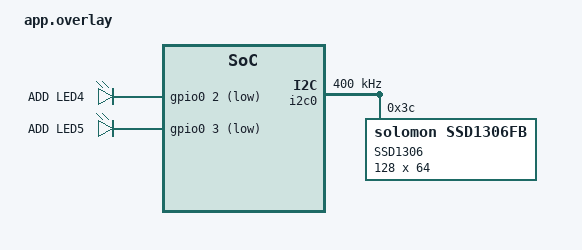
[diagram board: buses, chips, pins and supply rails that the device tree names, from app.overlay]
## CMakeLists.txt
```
#
# Copyright (c) 2018 Nordic Semiconductor
#
# SPDX-License-Identifier: LicenseRef-Nordic-5-Clause
#
cmake_minimum_required(VERSION 3.20.0)

find_package(Zephyr REQUIRED HINTS $ENV{ZEPHYR_BASE})
project(NONE)

# NORDIC SDK APP START
target_sources(app PRIVATE src/main.c)
target_sources(app PRIVATE display.c)
target_sources(app PRIVATE mainthread.c)
target_sources(app PRIVATE fonts/font5x7.c)
target_sources(app PRIVATE fonts/font8x8.c)
target_sources(app PRIVATE fonts/font10x16.c)
target_sources(app PRIVATE fonts/font15x24.c)
target_sources(app PRIVATE fonts/font20x32.c)

target_include_directories(app PRIVATE ./)

# Include UART ASYNC API adapter
target_sources_ifdef(CONFIG_BT_NUS_UART_ASYNC_ADAPTER app PRIVATE
  src/uart_async_adapter.c
)

# NORDIC SDK APP END

zephyr_library_include_directories(.)
```

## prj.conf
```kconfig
#
# Copyright (c) 2018 Nordic Semiconductor
#
# SPDX-License-Identifier: LicenseRef-Nordic-5-Clause
#

# Enable the UART driver
CONFIG_UART_ASYNC_API=y
CONFIG_NRFX_UARTE0=y
CONFIG_SERIAL=y

CONFIG_GPIO=y

# Make sure printk is printing to the UART console
CONFIG_CONSOLE=y
CONFIG_UART_CONSOLE=y


CONFIG_BT=y
CONFIG_BT_PERIPHERAL=y
CONFIG_BT_DEVICE_NAME="Nordic_UART_Service"
CONFIG_BT_DEVICE_APPEARANCE=833
CONFIG_BT_MAX_CONN=1
CONFIG_BT_MAX_PAIRED=1

# Enable the NUS service
CONFIG_BT_NUS=y

# Enable bonding
CONFIG_BT_SETTINGS=y
CONFIG_FLASH=y
CONFIG_FLASH_PAGE_LAYOUT=y
CONFIG_FLASH_MAP=y
CONFIG_NVS=y
CONFIG_SETTINGS=y

# Enable DK LED and Buttons library
CONFIG_DK_LIBRARY=y

# This example requires more stack
CONFIG_MAIN_STACK_SIZE=1152
CONFIG_SYSTEM_WORKQUEUE_STACK_SIZE=2048

# Config logger
CONFIG_LOG=y
CONFIG_USE_SEGGER_RTT=y
CONFIG_LOG_BACKEND_RTT=y
CONFIG_LOG_BACKEND_UART=n
CONFIG_LOG_PRINTK=n

CONFIG_ASSERT=y




# display

CONFIG_DEBUG=y

CONFIG_HEAP_MEM_POOL_SIZE=4096

CONFIG_BUILD_OUTPUT_HEX=y

CONFIG_I2C=y
CONFIG_I2C_NRFX=y

CONFIG_DISPLAY=y

CONFIG_SSD1306=y
CONFIG_SSD1306_DEFAULT_CONTRAST=128
CONFIG_SSD1306_DEFAULT=y

CONFIG_CHARACTER_FRAMEBUFFER=y
CONFIG_CHARACTER_FRAMEBUFFER_USE_DEFAULT_FONTS=n
```

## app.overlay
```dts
/*
 * Copyright (c) 2022 Nordic Semiconductor ASA
 *
 * SPDX-License-Identifier: LicenseRef-Nordic-5-Clause
 */

/ {
	chosen {
		nordic,nus-uart = &uart0;
	};
};
/ {
    leds {
        compatible = "gpio-leds";//组件名 可以去sdk下面找到gpio_leds.c的驱动文件：C:\ncs\sdk\zephyr\drivers\led\gpio_leds.c和C:\ncs\sdk\zephyr\dts\bindings\led\gpio-leds.yaml
        led4: led_4 {
            gpios = <&gpio0 2 GPIO_ACTIVE_LOW>;
            label = "ADD LED4";
        };
        led5: led_5 {
            gpios = <&gpio0 3 GPIO_ACTIVE_LOW>;
            label = "ADD LED5";
        };

    };
    aliases {
        led4=&led4;//因为是以别名调用这个驱动的所以添加这个别名
        led5=&led5;
    };
};
&i2c0 {
    compatible = "nordic,nrf-twi";
    status = "okay";
    clock-frequency = <I2C_BITRATE_FAST>;

    ssd1306@3c {
        compatible = "solomon,ssd1306fb";
        reg = <0x3c>;
        label = "SSD1306";//获取设备时用这个device_get_binding("SSD1306")
        height = <64>;
        width = <128>;
        segment-offset = <0>;
        page-offset = <0>;
        display-offset = <0>;
        multiplex-ratio = <63>;
        prechargep = <0xFF>;
    };
};
```

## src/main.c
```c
/*
 * Copyright (c) 2018 Nordic Semiconductor ASA
 *
 * SPDX-License-Identifier: LicenseRef-Nordic-5-Clause
 */
// 这里有两个任务，一个是main任务另外一个是ble_write_thread任务
// main任务控制状态灯，
// ble_write_thread任务串口接收数据后转发ble的任务
/** @file
 *  @brief Nordic UART Bridge Service (NUS) sample
 */
#include "uart_async_adapter.h"

#include <zephyr/types.h>
#include <zephyr/kernel.h>
#include <zephyr/drivers/uart.h>
#include <zephyr/usb/usb_device.h>

#include <zephyr/device.h>
#include <zephyr/devicetree.h>
#include <soc.h>

#include <zephyr/bluetooth/bluetooth.h>
#include <zephyr/bluetooth/uuid.h>
#include <zephyr/bluetooth/gatt.h>
#include <zephyr/bluetooth/hci.h>

#include <bluetooth/services/nus.h>

#include <dk_buttons_and_leds.h>

#include <zephyr/settings/settings.h>

#include <stdio.h>

#include <zephyr/logging/log.h>
#include "display.h"
#define LOG_MODULE_NAME peripheral_uart
LOG_MODULE_REGISTER(LOG_MODULE_NAME);

#define STACKSIZE CONFIG_BT_NUS_THREAD_STACK_SIZE
#define PRIORITY 7

#define DEVICE_NAME CONFIG_BT_DEVICE_NAME
#define DEVICE_NAME_LEN (sizeof(DEVICE_NAME) - 1)

#define RUN_STATUS_LED DK_LED1
#define RUN_LED_BLINK_INTERVAL 1000

#define CON_STATUS_LED DK_LED2

#define KEY_PASSKEY_ACCEPT DK_BTN1_MSK
#define KEY_PASSKEY_REJECT DK_BTN2_MSK

#define UART_BUF_SIZE CONFIG_BT_NUS_UART_BUFFER_SIZE
#define UART_WAIT_FOR_BUF_DELAY K_MSEC(50)
#define UART_WAIT_FOR_RX CONFIG_BT_NUS_UART_RX_WAIT_TIME

static K_SEM_DEFINE(ble_init_ok, 0, 1);

static struct bt_conn *current_conn;
static struct bt_conn *auth_conn;

static const struct device *uart = DEVICE_DT_GET(DT_CHOSEN(nordic_nus_uart));
static struct k_work_delayable uart_work;

struct uart_data_t
{
	void *fifo_reserved;
	uint8_t data[UART_BUF_SIZE];
	uint16_t len;
};

static K_FIFO_DEFINE(fifo_uart_tx_data);
static K_FIFO_DEFINE(fifo_uart_rx_data);

static const struct bt_data ad[] = {
	BT_DATA_BYTES(BT_DATA_FLAGS, (BT_LE_AD_GENERAL | BT_LE_AD_NO_BREDR)),
	BT_DATA(BT_DATA_NAME_COMPLETE, DEVICE_NAME, DEVICE_NAME_LEN),
};

static const struct bt_data sd[] = {
	BT_DATA_BYTES(BT_DATA_UUID128_ALL, BT_UUID_NUS_VAL),
};

#if CONFIG_BT_NUS_UART_ASYNC_ADAPTER
UART_ASYNC_ADAPTER_INST_DEFINE(async_adapter);
#else
static const struct device *const async_adapter;
#endif

static void uart_cb(const struct device *dev, struct uart_event *evt, void *user_data)
{
	ARG_UNUSED(dev);

	static size_t aborted_len;
	struct uart_data_t *buf;
	static uint8_t *aborted_buf;
	static bool disable_req;

	switch (evt->type)
	{
	case UART_TX_DONE:
		LOG_DBG("UART_TX_DONE");
		if ((evt->data.tx.len == 0) ||
			(!evt->data.tx.buf))
		{
			return;
		}

		if (aborted_buf)
		{
			buf = CONTAINER_OF(aborted_buf, struct uart_data_t,
							   data);
			aborted_buf = NULL;
			aborted_len = 0;
		}
		else
		{
			buf = CONTAINER_OF(evt->data.tx.buf, struct uart_data_t,
							   data);
		}

		k_free(buf);

		buf = k_fifo_get(&fifo_uart_tx_data, K_NO_WAIT);
		if (!buf)
		{
			return;
		}

		if (uart_tx(uart, buf->data, buf->len, SYS_FOREVER_MS))
		{
			LOG_WRN("Failed to send data over UART");
		}

		break;

	case UART_RX_RDY:
		LOG_DBG("UART_RX_RDY");
		buf = CONTAINER_OF(evt->data.rx.buf, struct uart_data_t, data);
		buf->len += evt->data.rx.len;

		if (disable_req)
		{
			return;
		}

		if ((evt->data.rx.buf[buf->len - 1] == '\n') ||
			(evt->data.rx.buf[buf->len - 1] == '\r'))
		{
			disable_req = true;
			uart_rx_disable(uart);
		}

		break;

	case UART_RX_DISABLED:
		LOG_DBG("UART_RX_DISABLED");
		disable_req = false;

		buf = k_malloc(sizeof(*buf));
		if (buf)
		{
			buf->len = 0;
		}
		else
		{
			LOG_WRN("Not able to allocate UART receive buffer");
			k_work_reschedule(&uart_work, UART_WAIT_FOR_BUF_DELAY);
			return;
		}

		uart_rx_enable(uart, buf->data, sizeof(buf->data),
					   UART_WAIT_FOR_RX);

		break;

	case UART_RX_BUF_REQUEST:
		LOG_DBG("UART_RX_BUF_REQUEST");
		buf = k_malloc(sizeof(*buf));
		if (buf)
		{
			buf->len = 0;
			uart_rx_buf_rsp(uart, buf->data, sizeof(buf->data));
		}
		else
		{
			LOG_WRN("Not able to allocate UART receive buffer");
		}

		break;

	case UART_RX_BUF_RELEASED:
		LOG_DBG("UART_RX_BUF_RELEASED");
		buf = CONTAINER_OF(evt->data.rx_buf.buf, struct uart_data_t,
						   data);

		if (buf->len > 0)
		{
			k_fifo_put(&fifo_uart_rx_data, buf);
		}
		else
		{
			k_free(buf);
		}

		break;

	case UART_TX_ABORTED:
		LOG_DBG("UART_TX_ABORTED");
		if (!aborted_buf)
		{
			aborted_buf = (uint8_t *)evt->data.tx.buf;
		}

		aborted_len += evt->data.tx.len;
		buf = CONTAINER_OF(aborted_buf, struct uart_data_t,
						   data);

		uart_tx(uart, &buf->data[aborted_len],
				buf->len - aborted_len, SYS_FOREVER_MS);

		break;

	default:
		break;
	}
}

static void uart_work_handler(struct k_work *item)
{
	struct uart_data_t *buf;

	buf = k_malloc(sizeof(*buf));
	if (buf)
	{
		buf->len = 0;
	}
	else
	{
		LOG_WRN("Not able to allocate UART receive buffer");
		k_work_reschedule(&uart_work, UART_WAIT_FOR_BUF_DELAY);
		return;
	}

	uart_rx_enable(uart, buf->data, sizeof(buf->data), UART_WAIT_FOR_RX);
}

static bool uart_test_async_api(const struct device *dev)
{
	const struct uart_driver_api *api =
		(const struct uart_driver_api *)dev->api;

	return (api->callback_set != NULL);
}

static int uart_init(void)
{
	int err;
	int pos;
	struct uart_data_t *rx;
	struct uart_data_t *tx;

	if (!device_is_ready(uart))
	{
		return -ENODEV;
	}

	if (IS_ENABLED(CONFIG_USB_DEVICE_STACK))
	{
		err = usb_enable(NULL);
		if (err && (err != -EALREADY))
		{
			LOG_ERR("Failed to enable USB");
			return err;
		}
	}

	rx = k_malloc(sizeof(*rx));
	if (rx)
	{
		rx->len = 0;
	}
	else
	{
		return -ENOMEM;
	}

	k_work_init_delayable(&uart_work, uart_work_handler);

	if (IS_ENABLED(CONFIG_BT_NUS_UART_ASYNC_ADAPTER) && !uart_test_async_api(uart))
	{
		/* Implement API adapter */
		uart_async_adapter_init(async_adapter, uart);
		uart = async_adapter;
	}

	err = uart_callback_set(uart, uart_cb, NULL);
	if (err)
	{
		k_free(rx);
		LOG_ERR("Cannot initialize UART callback");
		return err;
	}

	if (IS_ENABLED(CONFIG_UART_LINE_CTRL))
	{
		LOG_INF("Wait for DTR");
		while (true)
		{
			uint32_t dtr = 0;

			uart_line_ctrl_get(uart, UART_LINE_CTRL_DTR, &dtr);
			if (dtr)
			{
				break;
			}
			/* Give CPU resources to low priority threads. */
			k_sleep(K_MSEC(100));
		}
		LOG_INF("DTR set");
		err = uart_line_ctrl_set(uart, UART_LINE_CTRL_DCD, 1);
		if (err)
		{
			LOG_WRN("Failed to set DCD, ret code %d", err);
		}
		err = uart_line_ctrl_set(uart, UART_LINE_CTRL_DSR, 1);
		if (err)
		{
			LOG_WRN("Failed to set DSR, ret code %d", err);
		}
	}

	tx = k_malloc(sizeof(*tx));

	if (tx)
	{
		pos = snprintf(tx->data, sizeof(tx->data),
					   "Starting Nordic UART service example\r\n");

		if ((pos < 0) || (pos >= sizeof(tx->data)))
		{
			k_free(rx);
			k_free(tx);
			LOG_ERR("snprintf returned %d", pos);
			return -ENOMEM;
		}

		tx->len = pos;
	}
	else
	{
		k_free(rx);
		return -ENOMEM;
	}

	err = uart_tx(uart, tx->data, tx->len, SYS_FOREVER_MS);
	if (err)
	{
		k_free(rx);
		k_free(tx);
		LOG_ERR("Cannot display welcome message (err: %d)", err);
		return err;
	}

	err = uart_rx_enable(uart, rx->data, sizeof(rx->data), 50);
	if (err)
	{
		LOG_ERR("Cannot enable uart reception (err: %d)", err);
		/* Free the rx buffer only because the tx buffer will be handled in the callback */
		k_free(rx);
	}

	return err;
}

static void connected(struct bt_conn *conn, uint8_t err)
{
	char addr[BT_ADDR_LE_STR_LEN];

	if (err)
	{
		LOG_ERR("Connection failed (err %u)", err);
		return;
	}

	bt_addr_le_to_str(bt_conn_get_dst(conn), addr, sizeof(addr));
	LOG_INF("Connected %s", addr);

	current_conn = bt_conn_ref(conn);

	dk_set_led_on(CON_STATUS_LED);
}

static void disconnected(struct bt_conn *conn, uint8_t reason)
{
	char addr[BT_ADDR_LE_STR_LEN];

	bt_addr_le_to_str(bt_conn_get_dst(conn), addr, sizeof(addr));

	LOG_INF("Disconnected: %s (reason %u)", addr, reason);

	if (auth_conn)
	{
		bt_conn_unref(auth_conn);
		auth_conn = NULL;
	}

	if (current_conn)
	{
		bt_conn_unref(current_conn);
		current_conn = NULL;
		dk_set_led_off(CON_STATUS_LED);
	}
}

#ifdef CONFIG_BT_NUS_SECURITY_ENABLED
static void security_changed(struct bt_conn *conn, bt_security_t level,
							 enum bt_security_err err)
{
	char addr[BT_ADDR_LE_STR_LEN];

	bt_addr_le_to_str(bt_conn_get_dst(conn), addr, sizeof(addr));

	if (!err)
	{
		LOG_INF("Security changed: %s level %u", addr, level);
	}
	else
	{
		LOG_WRN("Security failed: %s level %u err %d", addr,
				level, err);
	}
}
#endif

BT_CONN_CB_DEFINE(conn_callbacks) = {
	.connected = connected,
	.disconnected = disconnected,
#ifdef CONFIG_BT_NUS_SECURITY_ENABLED
	.security_changed = security_changed,
#endif
};

#if defined(CONFIG_BT_NUS_SECURITY_ENABLED)
static void auth_passkey_display(struct bt_conn *conn, unsigned int passkey)
{
	char addr[BT_ADDR_LE_STR_LEN];

	bt_addr_le_to_str(bt_conn_get_dst(conn), addr, sizeof(addr));

	LOG_INF("Passkey for %s: %06u", addr, passkey);
}

static void auth_passkey_confirm(struct bt_conn *conn, unsigned int passkey)
{
	char addr[BT_ADDR_LE_STR_LEN];

	auth_conn = bt_conn_ref(conn);

	bt_addr_le_to_str(bt_conn_get_dst(conn), addr, sizeof(addr));

	LOG_INF("Passkey for %s: %06u", addr, passkey);
	LOG_INF("Press Button 1 to confirm, Button 2 to reject.");
}

static void auth_cancel(struct bt_conn *conn)
{
	char addr[BT_ADDR_LE_STR_LEN];

	bt_addr_le_to_str(bt_conn_get_dst(conn), addr, sizeof(addr));

	LOG_INF("Pairing cancelled: %s", addr);
}

static void pairing_complete(struct bt_conn *conn, bool bonded)
{
	char addr[BT_ADDR_LE_STR_LEN];

	bt_addr_le_to_str(bt_conn_get_dst(conn), addr, sizeof(addr));

	LOG_INF("Pairing completed: %s, bonded: %d", addr, bonded);
}

static void pairing_failed(struct bt_conn *conn, enum bt_security_err reason)
{
	char addr[BT_ADDR_LE_STR_LEN];

	bt_addr_le_to_str(bt_conn_get_dst(conn), addr, sizeof(addr));

	LOG_INF("Pairing failed conn: %s, reason %d", addr, reason);
}

static struct bt_conn_auth_cb conn_auth_callbacks = {
	.passkey_display = auth_passkey_display,
	.passkey_confirm = auth_passkey_confirm,
	.cancel = auth_cancel,
};

static struct bt_conn_auth_info_cb conn_auth_info_callbacks = {
	.pairing_complete = pairing_complete,
	.pairing_failed = pairing_failed};
#else
static struct bt_conn_auth_cb conn_auth_callbacks;
static struct bt_conn_auth_info_cb conn_auth_info_callbacks;
#endif

static void bt_receive_cb(struct bt_conn *conn, const uint8_t *const data,
						  uint16_t len)
{
	int err;
	char addr[BT_ADDR_LE_STR_LEN] = {0};

	bt_addr_le_to_str(bt_conn_get_dst(conn), addr, ARRAY_SIZE(addr));

	LOG_INF("Received data from: %s", addr);

	for (uint16_t pos = 0; pos != len;)
	{
		struct uart_data_t *tx = k_malloc(sizeof(*tx));

		if (!tx)
		{
			LOG_WRN("Not able to allocate UART send data buffer");
			return;
		}

		/* Keep the last byte of TX buffer for potential LF char. */
		size_t tx_data_size = sizeof(tx->data) - 1;

		if ((len - pos) > tx_data_size)
		{
			tx->len = tx_data_size;
		}
		else
		{
			tx->len = (len - pos);
		}

		memcpy(tx->data, &data[pos], tx->len);

		pos += tx->len;

		/* Append the LF character when the CR character triggered
		 * transmission from the peer.
		 */
		if ((pos == len) && (data[len - 1] == '\r'))
		{
			tx->data[tx->len] = '\n';
			tx->len++;
		}

		err = uart_tx(uart, tx->data, tx->len, SYS_FOREVER_MS);
		if (err)
		{
			k_fifo_put(&fifo_uart_tx_data, tx);
		}
	}
}

static struct bt_nus_cb nus_cb = {
	.received = bt_receive_cb,
};

void error(void)
{
	dk_set_leds_state(DK_ALL_LEDS_MSK, DK_NO_LEDS_MSK);

	while (true)
	{
		/* Spin for ever */
		k_sleep(K_MSEC(1000));
	}
}

#ifdef CONFIG_BT_NUS_SECURITY_ENABLED
static void num_comp_reply(bool accept)
{
	if (accept)
	{
		bt_conn_auth_passkey_confirm(auth_conn);
		LOG_INF("Numeric Match, conn %p", (void *)auth_conn);
	}
	else
	{
		bt_conn_auth_cancel(auth_conn);
		LOG_INF("Numeric Reject, conn %p", (void *)auth_conn);
	}

	bt_conn_unref(auth_conn);
	auth_conn = NULL;
}

void button_changed(uint32_t button_state, uint32_t has_changed)
{
	uint32_t buttons = button_state & has_changed;

	if (auth_conn)
	{
		if (buttons & KEY_PASSKEY_ACCEPT)
		{
			num_comp_reply(true);
		}

		if (buttons & KEY_PASSKEY_REJECT)
		{
			num_comp_reply(false);
		}
	}
}
#endif /* CONFIG_BT_NUS_SECURITY_ENABLED */

static void configure_gpio(void)
{
	int err;

#ifdef CONFIG_BT_NUS_SECURITY_ENABLED
	err = dk_buttons_init(button_changed);
	if (err)
	{
		LOG_ERR("Cannot init buttons (err: %d)", err);
	}
#endif /* CONFIG_BT_NUS_SECURITY_ENABLED */

	err = dk_leds_init();
	if (err)
	{
		LOG_ERR("Cannot init LEDs (err: %d)", err);
	}
}

int main(void)
{
	int blink_status = 0;
	int err = 0;
	display_init();

	configure_gpio();

	err = uart_init();
	if (err)
	{
		error();
	}

	if (IS_ENABLED(CONFIG_BT_NUS_SECURITY_ENABLED))
	{
		err = bt_conn_auth_cb_register(&conn_auth_callbacks);
		if (err)
		{
			printk("Failed to register authorization callbacks.\n");
			return 0;
		}

		err = bt_conn_auth_info_cb_register(&conn_auth_info_callbacks);
		if (err)
		{
			printk("Failed to register authorization info callbacks.\n");
			return 0;
		}
	}

	err = bt_enable(NULL);
	if (err)
	{
		error();
	}

	LOG_INF("Bluetooth initialized");

	k_sem_give(&ble_init_ok);

	if (IS_ENABLED(CONFIG_SETTINGS))
	{
		settings_load();
	}

	err = bt_nus_init(&nus_cb);
	if (err)
	{
		LOG_ERR("Failed to initialize UART service (err: %d)", err);
		return 0;
	}

	err = bt_le_adv_start(BT_LE_ADV_CONN, ad, ARRAY_SIZE(ad), sd,
						  ARRAY_SIZE(sd));
	if (err)
	{
		LOG_ERR("Advertising failed to start (err %d)", err);
		return 0;
	}

	for (;;)
	{
		dk_set_led(RUN_STATUS_LED, (++blink_status) % 2);
		k_sleep(K_MSEC(RUN_LED_BLINK_INTERVAL));
	}
}
// 串口接收后转发蓝牙发送
void ble_write_thread(void)
{
	/* Don't go any further until BLE is initialized */
	k_sem_take(&ble_init_ok, K_FOREVER);

	for (;;)
	{
		/* Wait indefinitely for data to be sent over bluetooth */
		// 这个任务 无期限等待直到串口接收到数据 无数据的话一直阻塞让出CPU
		// 一句话理解RTOS，[阻塞，让出CPU，等信号到来就绪执行]
		struct uart_data_t *buf = k_fifo_get(&fifo_uart_rx_data, K_FOREVER);

		if (bt_nus_send(NULL, buf->data, buf->len))
		{
			LOG_WRN("Failed to send data over BLE connection");
		}

		k_free(buf);
	}
}

K_THREAD_DEFINE(ble_write_thread_id, STACKSIZE, ble_write_thread, NULL, NULL,
				NULL, PRIORITY, 0, 0);
```

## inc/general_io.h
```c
#ifndef __GENERAL_IO_H
#define __GENERAL_IO_H
#include <stddef.h>
#include <string.h>
#include <errno.h>
#include <soc.h>
#include <zephyr/drivers/gpio.h>
#include <zephyr/types.h>
#include <zephyr/sys/printk.h>
#include <zephyr/sys/byteorder.h>
#include <zephyr/sys/__assert.h>
#include <zephyr/kernel.h>
#include <zephyr/logging/log.h>
#include <zephyr/device.h>
struct led
{
    struct gpio_dt_spec spec; // gpio设备的专有
    uint8_t num;
};

struct printk_data_t
{
    void *fifo_reserved; /* 1st word reserved for use by fifo */
    uint32_t led;
    uint32_t cnt;
};
// #define LED0_NODE DT_ALIAS(led0)
// #define LED1_NODE DT_ALIAS(led1)
#define LED2_NODE DT_ALIAS(led2)
// #define LED3_NODE DT_ALIAS(led3)
#define LED4_NODE DT_ALIAS(led4)
#define LED5_NODE DT_ALIAS(led5)
#define KEY0_NODE DT_ALIAS(sw0) // 别名

extern struct k_fifo printk_fifo;

#endif
```

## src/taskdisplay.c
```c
/*
 * Copyright (c) 2018 PHYTEC Messtechnik GmbH
 *
 * SPDX-License-Identifier: Apache-2.0
 */
#include <zephyr/types.h>
#include <stddef.h>
#include <string.h>
#include <errno.h>
#include <zephyr/sys/printk.h>
#include <zephyr/sys/byteorder.h>
#include <zephyr/kernel.h>
#include <zephyr/drivers/gpio.h>
#include <soc.h>

#include <zephyr/device.h>
#include <zephyr/display/cfb.h>
#include <stdio.h>

#include <zephyr/logging/log.h>
LOG_MODULE_REGISTER(display, 3);

#define DISPLAY_DRIVER "SSD1306"

static struct device *dev;
static uint16_t rows;
static uint8_t ppt;
static uint8_t font_width;
static uint8_t font_height;
// 0：font10x16 zephyr-copy
// 1：font15x24 zephyr-copy
// 2：font20x32 zephyr-copy
// 3：font5x7 custom
// 4：font8x8 custom
#define SELECTED_FONT_INDEX 0 // perhaps make this a config parameter

/*---------------------------------------------------------------------------*/
/*                                                                           */
/*---------------------------------------------------------------------------*/
void display_play(void)
{
    uint8_t x_offset = 0;
    uint8_t y_offset;

    while (1)
    {

        for (int i = 0; i < rows; i++)
        {

            y_offset = i * 16; // ppt;

            switch (i)
            {
            case 0:
                cfb_print(dev, " fuck", x_offset, y_offset);
                break;
            case 1:
                cfb_print(dev, " good", x_offset, y_offset);
                break;
            case 2:
                cfb_print(dev, " better", x_offset, y_offset);
                break;
            case 3:
                cfb_print(dev, " best", x_offset, y_offset);
                break;
            default:
                break;
            }

            cfb_framebuffer_finalize(dev);

            k_sleep(K_MSEC(300));
        }

        cfb_framebuffer_clear(dev, false);

        if (x_offset > 50)
            x_offset = 0;
        else
            x_offset += 5;
    }
}

/*---------------------------------------------------------------------------*/
/*          20240130                                                         */
/*---------------------------------------------------------------------------*/
void display_init(void)
{
    dev = (struct device *)device_get_binding(DISPLAY_DRIVER);

    if (dev == NULL)
    {
        LOG_ERR("Device not found");
        return;
    }

    if (display_set_pixel_format(dev, PIXEL_FORMAT_MONO10) != 0) // 显示像素关联DISPLAY_DRIVER
    {
        LOG_ERR("Failed to set required pixel format");
        return;
    }

    LOG_INF("Binding to %s", DISPLAY_DRIVER);

    if (cfb_framebuffer_init(dev)) // 初始化Framebuffer
    {
        LOG_ERR("Framebuffer initialization failed!");
        return;
    }

    cfb_framebuffer_clear(dev, true); // 清屏

    display_blanking_off(dev);

    rows = cfb_get_display_parameter(dev, CFB_DISPLAY_ROWS);
    ppt = cfb_get_display_parameter(dev, CFB_DISPLAY_PPT);

    int num_fonts = cfb_get_numof_fonts(dev);

    for (int idx = 0; idx < num_fonts; idx++)
    {

        cfb_get_font_size(dev, idx, &font_width, &font_height); // 取得字体的宽度和高度

        LOG_INF("Index[%d] font dimensions %2dx%d",
                idx, font_width, font_height);
    }

    cfb_framebuffer_set_font(dev, SELECTED_FONT_INDEX);

    LOG_INF("Selected font: index[%d]", SELECTED_FONT_INDEX);

    cfb_framebuffer_invert(dev); // white on black

    LOG_INF("x_res %d, y_res %d, ppt %d, rows %d, cols %d",
            cfb_get_display_parameter(dev, CFB_DISPLAY_WIDTH),
            cfb_get_display_parameter(dev, CFB_DISPLAY_HEIGH),
            ppt,
            rows,
            cfb_get_display_parameter(dev, CFB_DISPLAY_COLS));
}

K_THREAD_DEFINE(display_play_id, 1024, display_play, NULL, NULL, NULL, 7, 0, 0);
```

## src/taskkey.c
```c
#include "general_io.h"
#include "display.h"
K_FIFO_DEFINE(printk_fifo);
static struct gpio_dt_spec keyled = GPIO_DT_SPEC_GET_OR(LED2_NODE, gpios, {0});
static struct gpio_dt_spec button = GPIO_DT_SPEC_GET_OR(KEY0_NODE, gpios, {0});
static struct gpio_callback button_cb_data;
void button_pressed(const struct device *dev, struct gpio_callback *cb, uint32_t pins)
{
    printk("Button pressed at %" PRIu32 "\n", k_cycle_get_32());
}

void uart_out(void)
{

    while (1)
    {
        struct printk_data_t *rx_data = k_fifo_get(&printk_fifo,
                                                   K_FOREVER);
        printk("Toggled led%d; counter=%d\n",
               rx_data->led, rx_data->cnt);
        k_free(rx_data);
    }
}

int keyread(void)
{
    int ret;

    if (!gpio_is_ready_dt(&button))
    {
        printk("Error: button device %s is not ready\n",
               button.port->name);
        return 0;
    }

    ret = gpio_pin_configure_dt(&button, GPIO_INPUT);
    if (ret != 0)
    {
        printk("Error %d: failed to configure %s pin %d\n",
               ret, button.port->name, button.pin);
        return 0;
    }

    ret = gpio_pin_interrupt_configure_dt(&button, GPIO_INT_EDGE_TO_ACTIVE);

    if (ret != 0)
    {
        printk("Error %d: failed to configure interrupt on %s pin %d\n",
               ret, button.port->name, button.pin);
        return 0;
    }

    gpio_init_callback(&button_cb_data, button_pressed, BIT(button.pin));
    gpio_add_callback(button.port, &button_cb_data);
    printk("Set up button at %s pin %d\n", button.port->name, button.pin);

    if (keyled.port && !gpio_is_ready_dt(&keyled))
    {
        printk("Error %d: LED device %s is not ready; ignoring it\n",
               ret, keyled.port->name);
        keyled.port = NULL;
    }
    if (keyled.port)
    {
        ret = gpio_pin_configure_dt(&keyled, GPIO_OUTPUT);
        if (ret != 0)
        {
            printk("Error %d: failed to configure LED device %s pin %d\n",
                   ret, keyled.port->name, keyled.pin);
            keyled.port = NULL;
        }
        else
        {
            printk("Set up LED at %s pin %d\n", keyled.port->name, keyled.pin);
        }
    }

    printk("Press the button\n");
    if (keyled.port)
    {
        while (1)
        {
            /* If we have an LED, match its state to the button's. */
            int val = gpio_pin_get_dt(&button);

            if (val >= 0)
            {
                gpio_pin_set_dt(&keyled, val);
            }
            k_msleep(1);
        }
    }
    return 0;
}

// 消息接收并打印任务，消息发出一定要及时消化掉 不然会死机
K_THREAD_DEFINE(uart_out_id, 1024, uart_out, NULL, NULL, NULL, 7, 0, 0);

// 读取按键任务
K_THREAD_DEFINE(keyread_id, 1024, keyread, NULL, NULL, NULL, 7, 0, 0);
```

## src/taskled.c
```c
#include "general_io.h"

static const struct led led4 = {
    .spec = GPIO_DT_SPEC_GET_OR(LED4_NODE, gpios, {0}),
    .num = 4,
};

static const struct led led5 = {
    .spec = GPIO_DT_SPEC_GET_OR(LED5_NODE, gpios, {0}),
    .num = 5,
};

void blink(const struct led *led, uint32_t sleep_ms, uint32_t id)
{
    const struct gpio_dt_spec *spec = &led->spec;
    int cnt = 0;
    int ret;

    if (!device_is_ready(spec->port))
    {
        printk("Error: %s device is not ready\n", spec->port->name);
        return;
    }

    ret = gpio_pin_configure_dt(spec, GPIO_OUTPUT);
    if (ret != 0)
    {
        printk("Error %d: failed to configure pin %d (LED '%d')\n",
               ret, spec->pin, led->num);
        return;
    }

    while (1)
    {
        gpio_pin_set(spec->port, spec->pin, cnt % 2);

        struct printk_data_t tx_data = {.led = id, .cnt = cnt};

        size_t size = sizeof(struct printk_data_t);
        char *mem_ptr = k_malloc(size);
        __ASSERT_NO_MSG(mem_ptr != 0);

        memcpy(mem_ptr, &tx_data, size);

        k_fifo_put(&printk_fifo, mem_ptr);

        k_msleep(sleep_ms);
        cnt++;
    }
}

void blink0(void)
{
    blink(&led4, 100, 0);
}

void blink1(void)
{
    blink(&led5, 300, 1);
}

// 灯0闪 任务 闪后发出消息
K_THREAD_DEFINE(blink0_id, 1024, blink0, NULL, NULL, NULL, 7, 0, 0);

// 灯1闪 任务 闪后发出消息
K_THREAD_DEFINE(blink1_id, 1024, blink1, NULL, NULL, NULL, 7, 0, 0);
```
